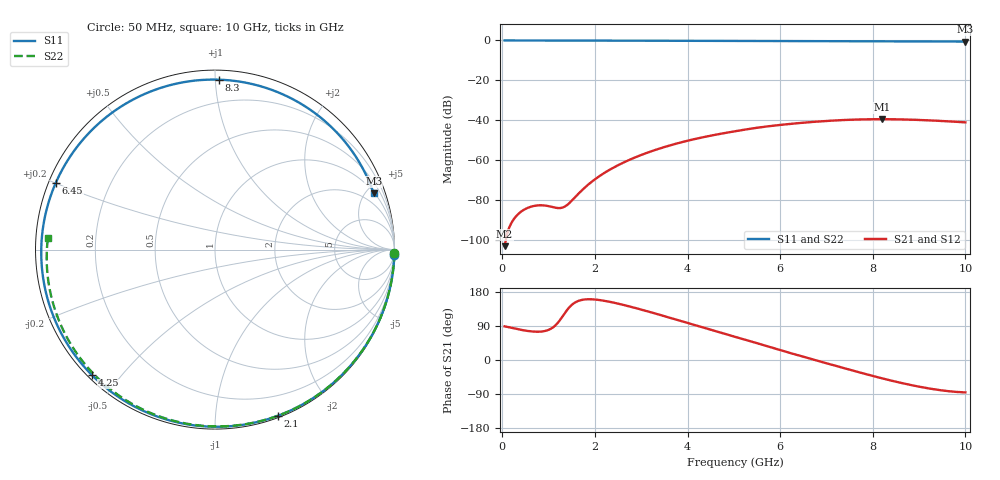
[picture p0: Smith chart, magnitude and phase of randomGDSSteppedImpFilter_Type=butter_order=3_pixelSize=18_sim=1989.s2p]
! freq	dB(S11)	phase(S11)	dB(S12)	phase(S12)
!  dB(S21)	phase(S21)	dB(S22)	phase(S22)
!S-par simulation data
#  GHz  S  DB  R 50
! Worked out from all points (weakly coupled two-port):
!   200 points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, 50 MHz to 10 GHz, reference 50 ohm
!   highest |S21| = -39.45 dB at 8.2 GHz (marker M1); lowest = -103.1 dB at 50 MHz (marker M2)
!   lowest |S11| = -0.6 dB at 10 GHz (marker M3), VSWR 31.23, Z = 54.1 + j281 ohm
!   |S11| at or under -10 dB: nowhere
!   |S22| runs from -0.6 to 0.0 dB; largest |S21 - S12| = 0
!   S11 on the Smith chart (normalised r, x): 50 MHz: 1, -67; 2.1 GHz: 0.02, -1.45; 4.25 GHz: 0.01, -0.42; 6.45 GHz: 0.02, +0.20; 8.3 GHz: 0.06, +1.02; 10 GHz: 1.08, +5.62
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0.05  -0.00 -1.7  -103.10 88.8  -103.10 88.8  -0.00 -1.1
0.75  -0.03 -25.3  -82.70 74.6  -82.70 74.6  -0.02 -15.6
1.5  -0.06 -50.1  -80.29 145.4  -80.29 145.4  -0.04 -30.9
1.75  -0.07 -58.1  -74.42 159.3  -74.42 159.3  -0.05 -36.0
2.1  -0.09 -69.3  -67.96 158.2  -67.96 158.2  -0.05 -42.9
2.7  -0.11 -88.0  -60.30 142.8  -60.30 142.8  -0.07 -54.7
3.4  -0.14 -109.2  -54.14 119.3  -54.14 119.3  -0.09 -68.0
4.25  -0.18 -134.4  -48.93 88.6  -48.93 88.6  -0.12 -83.6
5.05  -0.23 -158.4  -45.41 60.4  -45.41 60.4  -0.15 -97.8
5.75  -0.28 -180.0  -43.00 35.1  -43.00 35.1  -0.18 -109.9
6.45  -0.34 157.2  -41.33 10.4  -41.33 10.4  -0.23 -121.7
6.7  -0.36 148.7  -40.85 1.7  -40.85 1.7  -0.24 -125.9
7.1  -0.39 134.7  -40.21 -12.0  -40.21 -12.0  -0.27 -132.6
7.5  -0.42 120.0  -39.75 -25.6  -39.75 -25.6  -0.31 -139.3
7.85  -0.45 106.6  -39.52 -37.2  -39.52 -37.2  -0.34 -145.2
8.2  -0.47 92.8  -39.45 -48.3  -39.45 -48.3  -0.37 -151.2
8.3  -0.47 88.8  -39.46 -51.4  -39.46 -51.4  -0.38 -152.9
8.35  -0.48 86.8  -39.47 -52.9  -39.47 -52.9  -0.39 -153.8
8.7  -0.49 72.6  -39.61 -62.8  -39.61 -62.8  -0.43 -159.8
9.1  -0.51 56.1  -39.93 -72.7  -39.93 -72.7  -0.47 -166.9
9.55  -0.53 37.6  -40.44 -81.1  -40.44 -81.1  -0.53 -175.2
10  -0.56 19.5  -41.05 -85.5  -41.05 -85.5  -0.60 176.2
